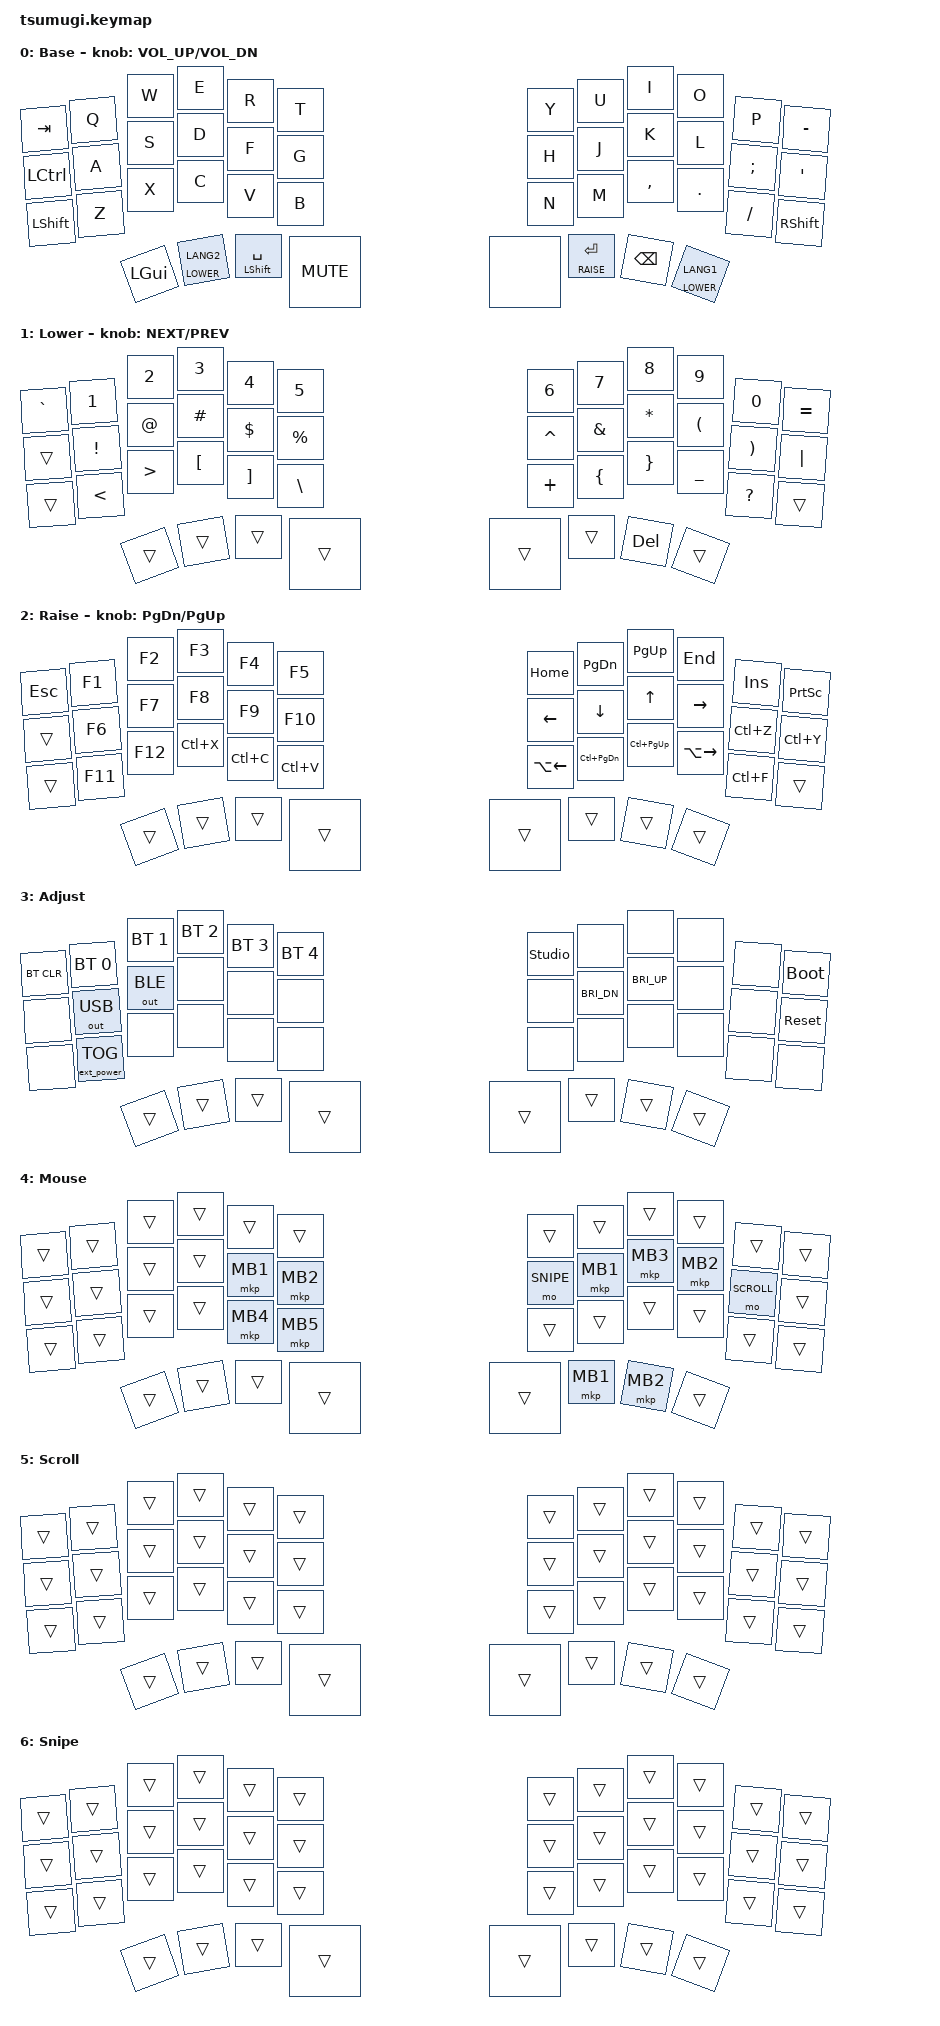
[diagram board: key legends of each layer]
/*
 * Tsumugi default keymap
 *
 * Key positions (44):
 *   0  1  2  3  4  5 |  6  7  8  9 10 11
 *  12 13 14 15 16 17 | 18 19 20 21 22 23
 *  24 25 26 27 28 29 | 30 31 32 33 34 35
 *        36 37 38 [39]|[40] 41 42 43
 *  39 / 40 = module bay contacts (encoder push switch); unused with a trackball.
 */

#include <behaviors.dtsi>
#include <input/processors.dtsi>
#include <dt-bindings/zmk/keys.h>
#include <dt-bindings/zmk/bt.h>
#include <dt-bindings/zmk/outputs.h>
#include <dt-bindings/zmk/pointing.h>
#include <dt-bindings/zmk/ext_power.h>
#include <dt-bindings/zmk/input_transform.h>

#define BASE   0
#define LOWER  1
#define RAISE  2
#define ADJUST 3
#define MOUSE  4
#define SCROLL 5
#define SNIPE  6

/* mouse-layer key positions that must NOT cancel the auto mouse layer */
#define MOUSE_KEYS 16 17 18 19 20 21 22 28 29 41 42

&mt {
    flavor = "balanced";
    tapping-term-ms = <200>;
    quick-tap-ms = <150>;
};

&lt {
    flavor = "balanced";
    tapping-term-ms = <200>;
    quick-tap-ms = <150>;
};

/* auto mouse layer: pops up when the ball moves, disappears 700 ms after it stops,
   but only if no key was typed in the last 250 ms (no accidental activation while typing) */
&zip_temp_layer {
    require-prior-idle-ms = <250>;
    excluded-positions = <MOUSE_KEYS>;
};

&cursor_listener {
    input-processors = <&zip_temp_layer MOUSE 700>;

    /* hold ';' on the mouse layer, or hold Lower (left thumb), to scroll with the ball
       - the Lower variant is borrowed from cocot46plus */
    scroller {
        layers = <SCROLL LOWER>;
        input-processors = <&zip_xy_transform INPUT_TRANSFORM_Y_INVERT>,
                           <&zip_xy_to_scroll_mapper>,
                           <&zip_scroll_scaler 1 10>;
    };

    sniper {
        layers = <SNIPE>;
        input-processors = <&zip_xy_scaler 1 3>;
    };
};

/ {
    conditional_layers {
        compatible = "zmk,conditional-layers";
        tri_layer {
            if-layers = <LOWER RAISE>;
            then-layer = <ADJUST>;
        };
    };

    combos {
        compatible = "zmk,combos";
        combo_esc {
            timeout-ms = <40>;
            key-positions = <1 2>;          /* Q + W */
            bindings = <&kp ESC>;
        };
        combo_caps_word {
            timeout-ms = <40>;
            key-positions = <15 20>;        /* F + J */
            bindings = <&caps_word>;
        };
    };

    keymap {
        compatible = "zmk,keymap";

        base_layer {
            display-name = "Base";
            bindings = <
&kp TAB   &kp Q &kp W &kp E    &kp R   &kp T      &kp Y &kp U &kp I     &kp O   &kp P    &kp MINUS
&kp LCTRL &kp A &kp S &kp D    &kp F   &kp G      &kp H &kp J &kp K     &kp L   &kp SEMI &kp SQT
&kp LSHFT &kp Z &kp X &kp C    &kp V   &kp B      &kp N &kp M &kp COMMA &kp DOT &kp FSLH &kp RSHFT
      &kp LGUI &lt LOWER LANG2 &mt LSHFT SPACE &kp C_MUTE    &none &lt RAISE ENTER &kp BSPC &lt LOWER LANG1
            >;
            sensor-bindings = <&inc_dec_kp C_VOL_UP C_VOL_DN>;
        };

        lower_layer {
            display-name = "Lower";
            bindings = <
&kp GRAVE &kp N1   &kp N2   &kp N3   &kp N4   &kp N5       &kp N6   &kp N7   &kp N8    &kp N9   &kp N0   &kp EQUAL
&trans    &kp EXCL &kp AT   &kp HASH &kp DLLR &kp PRCNT    &kp CARET &kp AMPS &kp STAR &kp LPAR &kp RPAR &kp PIPE
&trans    &kp LT   &kp GT   &kp LBKT &kp RBKT &kp BSLH     &kp PLUS &kp LBRC &kp RBRC  &kp UNDER &kp QMARK &trans
          &trans   &trans   &trans   &trans                 &trans   &trans   &kp DEL  &trans
            >;
            sensor-bindings = <&inc_dec_kp C_NEXT C_PREV>;
        };

        raise_layer {
            display-name = "Raise";
            bindings = <
&kp ESC   &kp F1  &kp F2  &kp F3  &kp F4  &kp F5         &kp HOME &kp PG_DN &kp PG_UP &kp END   &kp INS   &kp PSCRN
&trans    &kp F6  &kp F7  &kp F8  &kp F9  &kp F10        &kp LEFT &kp DOWN  &kp UP    &kp RIGHT &kp LC(Z) &kp LC(Y)
&trans    &kp F11 &kp F12 &kp LC(X) &kp LC(C) &kp LC(V)  &kp LA(LEFT) &kp LC(PG_DN) &kp LC(PG_UP) &kp LA(RIGHT) &kp LC(F) &trans
          &trans  &trans  &trans  &trans                  &trans   &trans    &trans    &trans
            >;
            sensor-bindings = <&inc_dec_kp PG_DN PG_UP>;
        };

        adjust_layer {
            display-name = "Adjust";
            bindings = <
&bt BT_CLR &bt BT_SEL 0 &bt BT_SEL 1 &bt BT_SEL 2 &bt BT_SEL 3 &bt BT_SEL 4    &studio_unlock &none &none &none &none &bootloader
&none      &out OUT_USB &out OUT_BLE &none &none &none                        &none &kp C_BRI_DN &kp C_BRI_UP &none &none &sys_reset
&none      &ext_power EP_TOG &none &none &none &none                         &none &none &none &none &none &none
           &trans &trans &trans &trans                                        &trans &trans &trans &trans
            >;
        };

        mouse_layer {
            display-name = "Mouse";
            /* right home row = buttons, ';' = hold to scroll, 'H' = precision */
            bindings = <
&trans &trans &trans &trans &trans &trans         &trans &trans &trans &trans &trans &trans
&trans &trans &trans &trans &mkp MB1 &mkp MB2     &mo SNIPE &mkp MB1 &mkp MB3 &mkp MB2 &mo SCROLL &trans
&trans &trans &trans &trans &mkp MB4 &mkp MB5     &trans &trans &trans &trans &trans &trans
       &trans &trans &trans &trans                &trans &mkp MB1 &mkp MB2 &trans
            >;
        };

        scroll_layer {
            display-name = "Scroll";
            bindings = <
&trans &trans &trans &trans &trans &trans    &trans &trans &trans &trans &trans &trans
&trans &trans &trans &trans &trans &trans    &trans &trans &trans &trans &trans &trans
&trans &trans &trans &trans &trans &trans    &trans &trans &trans &trans &trans &trans
       &trans &trans &trans &trans           &trans &trans &trans &trans
            >;
        };

        snipe_layer {
            display-name = "Snipe";
            bindings = <
&trans &trans &trans &trans &trans &trans    &trans &trans &trans &trans &trans &trans
&trans &trans &trans &trans &trans &trans    &trans &trans &trans &trans &trans &trans
&trans &trans &trans &trans &trans &trans    &trans &trans &trans &trans &trans &trans
       &trans &trans &trans &trans           &trans &trans &trans &trans
            >;
        };
    };
};
